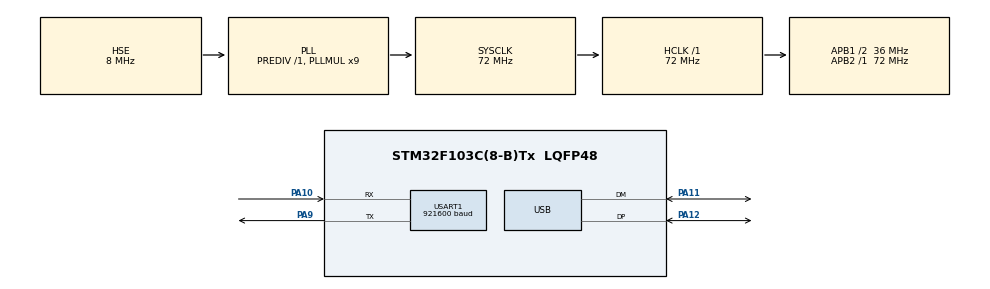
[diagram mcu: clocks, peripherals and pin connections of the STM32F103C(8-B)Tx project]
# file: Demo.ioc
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Dma.Request0=USART1_RX
Dma.Request1=USART1_TX
Dma.USART1_RX.0.Direction=DMA_PERIPH_TO_MEMORY
Dma.USART1_RX.0.Instance=DMA1_Channel5
Dma.USART1_RX.0.MemDataAlignment=DMA_MDATAALIGN_BYTE
Dma.USART1_RX.0.MemInc=DMA_MINC_ENABLE
Dma.USART1_RX.0.Mode=DMA_NORMAL
Dma.USART1_RX.0.PeriphDataAlignment=DMA_PDATAALIGN_BYTE
Dma.USART1_RX.0.PeriphInc=DMA_PINC_DISABLE
Dma.USART1_RX.0.Priority=DMA_PRIORITY_LOW
Dma.USART1_TX.1.Direction=DMA_MEMORY_TO_PERIPH
Dma.USART1_TX.1.Instance=DMA1_Channel4
Dma.USART1_TX.1.MemDataAlignment=DMA_MDATAALIGN_BYTE
Dma.USART1_TX.1.MemInc=DMA_MINC_ENABLE
Dma.USART1_TX.1.Mode=DMA_NORMAL
Dma.USART1_TX.1.PeriphDataAlignment=DMA_PDATAALIGN_BYTE
Dma.USART1_TX.1.PeriphInc=DMA_PINC_DISABLE
Dma.USART1_TX.1.Priority=DMA_PRIORITY_LOW
Mcu.Family=STM32F1
Mcu.Name=STM32F103C(8-B)Tx
Mcu.Package=LQFP48
NVIC.DMA1_Channel4_IRQn=true\:0\:0\:false\:false\:true\:false\:true\:true
NVIC.DMA1_Channel5_IRQn=true\:0\:0\:false\:false\:true\:false\:true\:true
NVIC.PriorityGroup=NVIC_PRIORITYGROUP_4
NVIC.USART1_IRQn=true\:0\:0\:false\:false\:true\:true\:true\:true
NVIC.USB_LP_CAN1_RX0_IRQn=true\:0\:0\:false\:false\:true\:false\:true\:true
PA10.Mode=Asynchronous
PA10.Signal=USART1_RX
PA11.Mode=Device
PA11.Signal=USB_DM
PA12.Mode=Device
PA12.Signal=USB_DP
PA13.Mode=Serial_Wire
PA13.Signal=SYS_JTMS-SWDIO
PA14.Mode=Serial_Wire
PA14.Signal=SYS_JTCK-SWCLK
PA9.Mode=Asynchronous
PA9.Signal=USART1_TX
PD0-OSC_IN.Mode=HSE-External-Oscillator
PD0-OSC_IN.Signal=RCC_OSC_IN
PD1-OSC_OUT.Mode=HSE-External-Oscillator
PD1-OSC_OUT.Signal=RCC_OSC_OUT
ProjectManager.HeapSize=0x200
ProjectManager.StackSize=0x400
ProjectManager.TargetToolchain=MDK-ARM V5
RCC.AHBFreq_Value=72000000
RCC.APB1CLKDivider=RCC_HCLK_DIV2
RCC.APB1Freq_Value=36000000
RCC.APB1TimFreq_Value=72000000
RCC.APB2Freq_Value=72000000
RCC.APB2TimFreq_Value=72000000
RCC.HCLKFreq_Value=72000000
RCC.PLLMUL=RCC_PLL_MUL9
RCC.PLLSourceVirtual=RCC_PLLSOURCE_HSE
RCC.SYSCLKFreq_VALUE=72000000
RCC.SYSCLKSource=RCC_SYSCLKSOURCE_PLLCLK
RCC.USBFreq_Value=48000000
RCC.USBPrescaler=RCC_USBCLKSOURCE_PLL_DIV1_5
USART1.BaudRate=921600
USART1.VirtualMode=VM_ASYNC
USB_DEVICE.CLASS_NAME_FS=CDC
USB_DEVICE.MANUFACTURER_STRING=FDILINK
USB_DEVICE.PRODUCT_STRING_CDC_FS=FDILINK ComPort
USB_DEVICE.VirtualMode=Cdc
USB_DEVICE.VirtualModeFS=Cdc_FS
VP_USB_DEVICE_VS_USB_DEVICE_CDC_FS.Mode=CDC_FS
board=custom

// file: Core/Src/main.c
/* USER CODE BEGIN Header */
/**
  ******************************************************************************
  * @file           : main.c
  * @brief          : Main program body
  ******************************************************************************
  * @attention
  *
  * <h2><center>&copy; Copyright (c) 2019 STMicroelectronics.
  * All rights reserved.</center></h2>
  *
  * This software component is licensed by ST under Ultimate Liberty license
  * SLA0044, the "License"; You may not use this file except in compliance with
  * the License. You may obtain a copy of the License at:
  *                             www.st.com/SLA0044
  *
  ******************************************************************************
  */
/* USER CODE END Header */

#include "main.h"
#include "usb_device.h"

/* USER CODE BEGIN Includes */
#include "fdilink_decode.h"
#include "FDILink.h"
#include "FDI_send.h"
#include "FDI_receive.h"
#include "FDI_config.h"
#include "FDI_Search_Function.h"
/* USER CODE END Includes */

UART_HandleTypeDef huart1;
DMA_HandleTypeDef hdma_usart1_rx;
DMA_HandleTypeDef hdma_usart1_tx;

void SystemClock_Config(void);
static void MX_GPIO_Init(void);
static void MX_DMA_Init(void);
static void MX_USART1_UART_Init(void);

/* USER CODE BEGIN 0 */
static FDILink_Status_t _FDILink;
static uint8_t 					RxBuffer[256];

/**
  * @brief 串口1接收数据空闲回调函数，用于调用FDILink解码函数解析数据
  * @param[in] huart
  */
void UART_RxIdleCallback(UART_HandleTypeDef *huart)
{
	if(huart ->Instance == USART1)
	{
		int length = 256 - __HAL_DMA_GET_COUNTER(huart->hdmarx);
		fdiComProtocolReceive(&_FDILink, RxBuffer, length);
		HAL_UART_Receive_DMA(huart, RxBuffer, 256);
	}
}

/* USER CODE END 0 */

/**
关于函数的一些简单介绍放置在对应的头文件里，用户可以不考虑具体实现，直接调用自己需要的函数

本函数演示一套通用的使用流程
用户想要部署到自己的工程时，只需将FDILink文件夹下的文件添加到工程中，调用相关函数即可
添加FDILink.c/h时，需要同时添加CRC_Table.c和fdilink_decode.h
添加FDI_config.c/h时，需要将"stm32f1xx_hal.h"改为当前芯片对应的头文件，huart1改为当前芯片与模块通信的串口
添加FDI_receive.c/h时，无需修改，可以通过将函数内的局部变量改为全局变量的方式，在witch里面查看帧结构体里面的数据
添加FDI_send.c/h时，需要将"stm32f1xx_hal.h"改为当前芯片对应的头文件，huart1改为当前芯片与模块通信的串口
  */
int main(void)
{
  /* MCU Configuration*/
  HAL_Init();

  /* Configure the system clock */
  SystemClock_Config();

  /* Initialize all configured peripherals */
  MX_GPIO_Init();
  MX_DMA_Init();
  MX_USART1_UART_Init();
  MX_USB_DEVICE_Init();

  /* USER CODE BEGIN 1 */
//使能UART1的IDLE中断，用于检测USART1接收空闲事件
  __HAL_UART_ENABLE_IT(&huart1, UART_IT_IDLE);
//开启UART1的DMA接收，将数据接收到RxBuffer中，长度为256字节
  HAL_UART_Receive_DMA(&huart1, RxBuffer, 256);
//初始化FDILink结构体
	fdiComProtocolInit(&_FDILink);
//———————————————————————指令配置模式———————————————————————
////进入配置模式
//	fdiSetConfig();
////配置COM端口2的波特率为921600
//	fdiComSetConfigBaud(COM2,COMM_BAUD_921600);
////配置COM端口2的类型为NAV
//	fdiComSetConfigType(COM2,COMM_STREAM_TYPE_NAV);
////配置用户给定横滚为1.1度
//	fdiComSetConfigUserDefine(USER_DEFINE_ROLL,1.1);
////配置GPIO2的模式为输出
//	fdiComSetConfigGPIOs(GPIO2, GPIOS_1PPS_OUTPUT);
////开启2D磁力计融合开关
//	fdiComSetConfigAID(AID_MAG_2D_MAGNETIC, ENABLE);
////配置安装方向沿Y轴顺时针旋转13.5度
//	fdiComSetConfigAxis("y", 13.5);
////查询双天线航向与载体的前后夹角
//	fdiComGetConfigAnte();
////配置双天线航向与载体的前后夹角为0.23度
//	fdiComSetConfigAnteHeadbias(0.23);
////配置双天线基线长度为1.1m
//	fdiComSetConfigAnteBaseline(1.1);
////配置主天线到IMU的杆臂
//	fdiComSetConfigAnteArm(0.11, 0.12, 0.13);
////校准加表常值零偏
//	fdiComSetConfigImucailedGyro();
////配置数据包发送频率
//	fdiComSetConfigPacketSentMsg(MSG_AHRS, Freq_10);
////关闭数据包发送
//	fdiComSetConfigPacketCloseMsg(MSG_IMU);
////查看MSG_IMU信息
//	fdiGetParam("MSG_IMU");
////查看COM3的波特率
//	fdiGetParam("COMM_BAUD3");
////配置COM3的波特率为921600
//	fdiSetParam("COMM_BAUD3", 8);
////保存配置
//	fdiSetSave();
////重启
//	fdiSetReboot();

//———————————————————————数据帧请求模式———————————————————————
//	fdiGetPacket(0x40);
//	fdiGetPacket(0x51);

//———————————————————————用户外部输入数据———————————————————————
//	fdiSendSLAM1Datapacke();

/* USER CODE END 1 */
  while (1)
  {
  }
}

void SystemClock_Config(void)
{
  RCC_OscInitTypeDef RCC_OscInitStruct = {0};
  RCC_ClkInitTypeDef RCC_ClkInitStruct = {0};
  RCC_PeriphCLKInitTypeDef PeriphClkInit = {0};

  /** Initializes the CPU, AHB and APB busses clocks
  */
  RCC_OscInitStruct.OscillatorType = RCC_OSCILLATORTYPE_HSE;
  RCC_OscInitStruct.HSEState = RCC_HSE_ON;
  RCC_OscInitStruct.HSEPredivValue = RCC_HSE_PREDIV_DIV1;
  RCC_OscInitStruct.HSIState = RCC_HSI_ON;
  RCC_OscInitStruct.PLL.PLLState = RCC_PLL_ON;
  RCC_OscInitStruct.PLL.PLLSource = RCC_PLLSOURCE_HSE;
  RCC_OscInitStruct.PLL.PLLMUL = RCC_PLL_MUL9;
  if (HAL_RCC_OscConfig(&RCC_OscInitStruct) != HAL_OK)
  {
    Error_Handler();
  }
  /** Initializes the CPU, AHB and APB busses clocks
  */
  RCC_ClkInitStruct.ClockType = RCC_CLOCKTYPE_HCLK|RCC_CLOCKTYPE_SYSCLK
                              |RCC_CLOCKTYPE_PCLK1|RCC_CLOCKTYPE_PCLK2;
  RCC_ClkInitStruct.SYSCLKSource = RCC_SYSCLKSOURCE_PLLCLK;
  RCC_ClkInitStruct.AHBCLKDivider = RCC_SYSCLK_DIV1;
  RCC_ClkInitStruct.APB1CLKDivider = RCC_HCLK_DIV2;
  RCC_ClkInitStruct.APB2CLKDivider = RCC_HCLK_DIV1;

  if (HAL_RCC_ClockConfig(&RCC_ClkInitStruct, FLASH_LATENCY_2) != HAL_OK)
  {
    Error_Handler();
  }
  PeriphClkInit.PeriphClockSelection = RCC_PERIPHCLK_USB;
  PeriphClkInit.UsbClockSelection = RCC_USBCLKSOURCE_PLL_DIV1_5;
  if (HAL_RCCEx_PeriphCLKConfig(&PeriphClkInit) != HAL_OK)
  {
    Error_Handler();
  }
}

static void MX_USART1_UART_Init(void)
{

  huart1.Instance = USART1;
  huart1.Init.BaudRate = 921600;
  huart1.Init.WordLength = UART_WORDLENGTH_8B;
  huart1.Init.StopBits = UART_STOPBITS_1;
  huart1.Init.Parity = UART_PARITY_NONE;
  huart1.Init.Mode = UART_MODE_TX_RX;
  huart1.Init.HwFlowCtl = UART_HWCONTROL_NONE;
  huart1.Init.OverSampling = UART_OVERSAMPLING_16;
  if (HAL_UART_Init(&huart1) != HAL_OK)
  {
    Error_Handler();
  }

}

static void MX_DMA_Init(void)
{
  /* DMA controller clock enable */
  __HAL_RCC_DMA1_CLK_ENABLE();

  /* DMA interrupt init */
  /* DMA1_Channel4_IRQn interrupt configuration */
  HAL_NVIC_SetPriority(DMA1_Channel4_IRQn, 0, 0);
  HAL_NVIC_EnableIRQ(DMA1_Channel4_IRQn);
  /* DMA1_Channel5_IRQn interrupt configuration */
  HAL_NVIC_SetPriority(DMA1_Channel5_IRQn, 0, 0);
  HAL_NVIC_EnableIRQ(DMA1_Channel5_IRQn);
}

static void MX_GPIO_Init(void)
{

  /* GPIO Ports Clock Enable */
  __HAL_RCC_GPIOD_CLK_ENABLE();
  __HAL_RCC_GPIOA_CLK_ENABLE();

}

/**
  * @brief 串口发送
  * @param [1]ch
  * @param [2]FILE * fp
  * @retval None
  */
int fputc(int ch,FILE * fp)
{
	HAL_UART_Transmit(&huart1,(uint8_t * )&ch,1,0xffff);
	return ch;
}

/**
  * @brief 串口接收
  * @param [1]ch
  * @param [2]FILE * fp
  * @retval None
  */
int fgetc(FILE *f)
{
	int ch;
	while (__HAL_UART_GET_FLAG(&huart1, UART_FLAG_RXNE) == RESET);
	HAL_UART_Receive(&huart1, (uint8_t *)&ch, 1, 0xFFFF);
	return (ch);
}

void Error_Handler(void)
{
}

/************************ (C) COPYRIGHT STMicroelectronics *****END OF FILE****/
